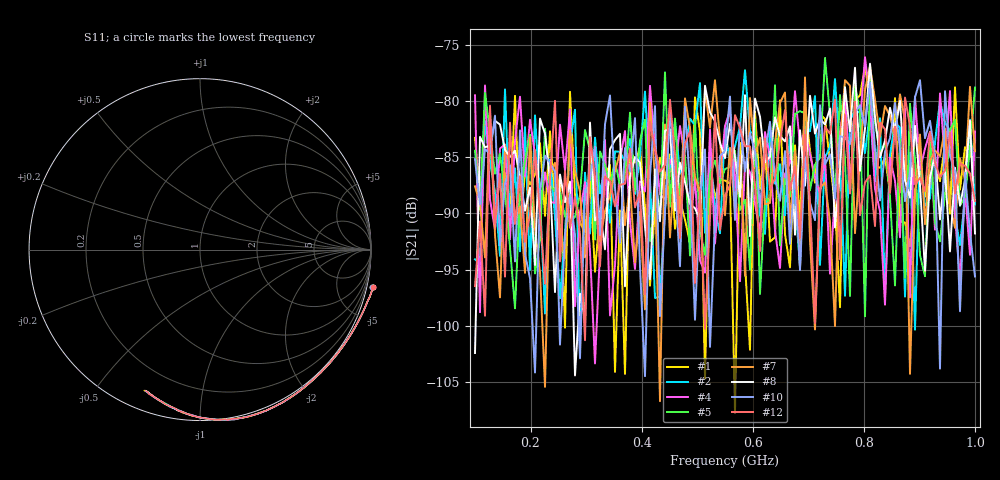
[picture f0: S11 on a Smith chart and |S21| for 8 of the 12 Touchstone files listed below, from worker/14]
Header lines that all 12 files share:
# HZ S RI R 50
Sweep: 100 MHz to 1 GHz
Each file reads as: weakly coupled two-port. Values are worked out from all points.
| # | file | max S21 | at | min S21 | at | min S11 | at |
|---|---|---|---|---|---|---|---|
| 1 | 20201206_164712.s2p | -76.92 dB | 802 MHz | -107.7 dB | 568 MHz | -1.0 dB | 1 GHz |
| 2 | 20201206_164713.s2p | -77.26 dB | 586 MHz | -101.7 dB | 289 MHz | -1.1 dB | 1 GHz |
| 3 | 20201206_164714.s2p | -78.72 dB | 685 MHz | -100.9 dB | 883 MHz | -1.1 dB | 1 GHz |
| 4 | 20201206_164716.s2p | -76.11 dB | 802 MHz | -103.3 dB | 316 MHz | -1.0 dB | 1 GHz |
| 5 | 20201206_164717.s2p | -76.16 dB | 730 MHz | -99.1 dB | 802 MHz | -1.1 dB | 1 GHz |
| 6 | 20201206_164718.s2p | -74.53 dB | 1 GHz | -107.2 dB | 325 MHz | -1.1 dB | 1 GHz |
| 7 | 20201206_164719.s2p | -76.90 dB | 811 MHz | -106.7 dB | 433 MHz | -1.1 dB | 1 GHz |
| 8 | 20201206_164720.s2p | -76.68 dB | 811 MHz | -104.4 dB | 280 MHz | -1.1 dB | 1 GHz |
| 9 | 20201206_164722.s2p | -77.47 dB | 793 MHz | -100.6 dB | 919 MHz | -1.1 dB | 1 GHz |
| 10 | 20201206_164723.s2p | -78.15 dB | 901 MHz | -104.5 dB | 406 MHz | -1.0 dB | 1 GHz |
| 11 | 20201206_164724.s2p | -78.90 dB | 298 MHz | -105.3 dB | 910 MHz | -1.1 dB | 1 GHz |
| 12 | 20201206_164725.s2p | -79.69 dB | 874 MHz | -101.3 dB | 298 MHz | -1.1 dB | 1 GHz |
